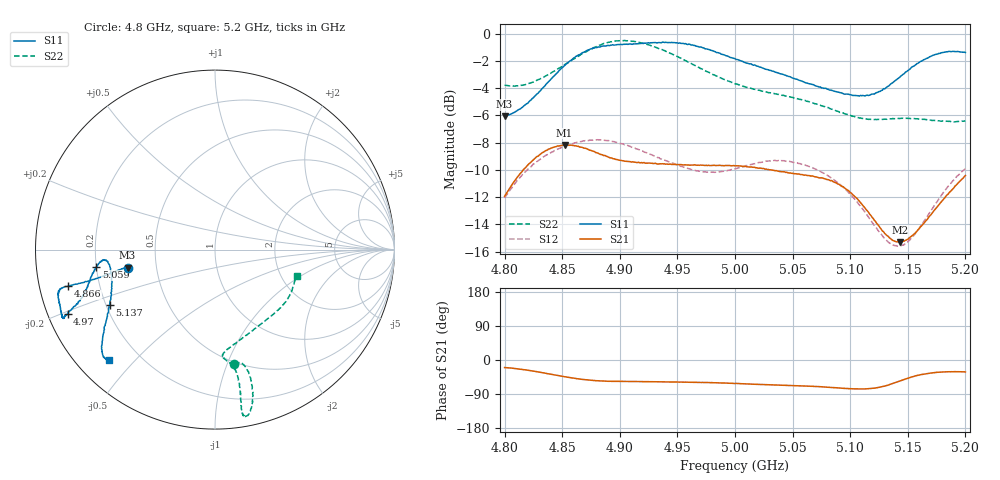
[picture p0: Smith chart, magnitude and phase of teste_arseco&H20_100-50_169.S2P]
! Network Analyzer HP8722D
! Hewlett-Packard
! Data name: Linha & Wilkinson
! Saver's name: Rodrigo Anjos
! Comments: Teste da utilização de aquisição
! continua pelo VNA HP8722D
! Time and date: 6/5/2025 13:58
!  Frequency  S11  S21  S12  S22
# HZ  S  MA R 50
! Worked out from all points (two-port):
!   401 points, 4.8 GHz to 5.2 GHz, reference 50 ohm
!   highest |S21| = -8.17 dB at 4.852 GHz (marker M1); lowest = -15.3 dB at 5.143 GHz (marker M2)
!   |S21| within 3 dB of the highest: 4.806 GHz to 5.092 GHz (286.1 MHz wide, 5.78 % of centre); 5.191362 GHz to end of sweep
!   lowest |S11| = -6.1 dB at 4.8 GHz (marker M3), VSWR 2.98, Z = 16.9 - j4.54 ohm
!   |S11| at or under -10 dB: nowhere
!   |S22| runs from -6.5 to -0.5 dB; largest |S21 - S12| = 0.62
!   S11 on the Smith chart (normalised r, x): 4.8 GHz: 0.34, -0.09; 4.866 GHz: 0.09, -0.12; 4.97 GHz: 0.06, -0.21; 5.059 GHz: 0.20, -0.07; 5.137 GHz: 0.22, -0.23; 5.2 GHz: 0.09, -0.42
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4.8e9  0.4976 -168.3  0.2531 -20.0  0.2496 -141.0  0.6476 -80.3
4.825e9  0.5827 -167.5  0.3446 -29.3  0.3328 -144.5  0.6653 -75.8
4.852e9  0.7648 -166.0  0.3906 -44.2  0.3864 -149.7  0.7708 -74.6
4.866e9  0.8427 -166.0  0.3833 -50.5  0.4016 -152.1  0.8375 -75.3
4.867e9  0.8503 -166.0  0.3831 -51.1  0.4024 -152.2  0.8442 -75.5
4.879e9  0.8918 -165.7  0.3665 -54.5  0.4073 -154.2  0.8953 -76.7
4.9e9  0.9134 -162.8  0.343 -56.5  0.3955 -156.7  0.9434 -79.2
4.934e9  0.9293 -156.6  0.3324 -57.5  0.3509 -155.7  0.8822 -80.5
4.97e9  0.8947 -156.5  0.3296 -59.2  0.3125 -147.1  0.7456 -79.7
5e9  0.8103 -159.2  0.3271 -62.0  0.319 -137.3  0.6555 -81.3
5.035e9  0.723 -165.4  0.3142 -65.8  0.3425 -134.5  0.6015 -85.7
5.059e9  0.6678 -171.7  0.3035 -68.3  0.3308 -136.3  0.57 -84.3
5.067e9  0.6518 -173.1  0.3004 -69.2  0.3226 -137.0  0.5579 -82.7
5.083e9  0.6213 -174.7  0.2886 -72.5  0.2966 -138.3  0.5299 -76.8
5.101e9  0.5969 -172.2  0.2599 -75.8  0.255 -138.9  0.5001 -66.4
5.116e9  0.5936 -165.5  0.2206 -75.9  0.2118 -135.6  0.485 -55.7
5.134e9  0.6465 -154.2  0.1782 -65.2  0.1704 -120.6  0.4869 -43.2
5.137e9  0.6621 -152.4  0.1741 -62.0  0.1674 -116.7  0.4886 -41.5
5.143e9  0.6929 -149.4  0.1714 -55.7  0.1659 -108.8  0.4884 -37.9
5.154e9  0.7575 -144.7  0.1815 -44.4  0.1794 -95.0  0.4877 -32.3
5.172e9  0.8349 -139.1  0.2219 -33.7  0.2306 -81.3  0.4808 -24.5
5.2e9  0.8539 -133.9  0.3015 -31.6  0.3191 -77.0  0.478 -17.6
